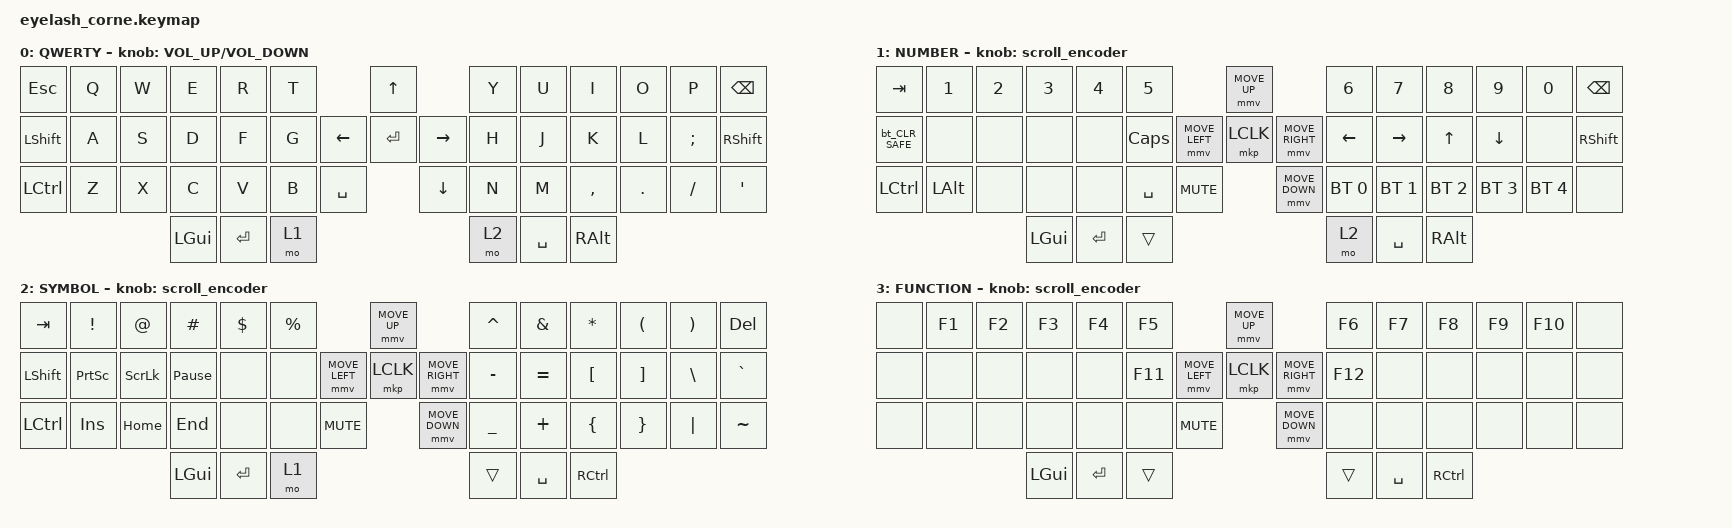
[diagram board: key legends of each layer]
#define ZMK_POINTING_DEFAULT_MOVE_VAL 1200
#define ZMK_POINTING_DEFAULT_SCRL_VAL 25

#include <input/processors.dtsi>
#include <zephyr/dt-bindings/input/input-event-codes.h>
#include <behaviors.dtsi>
#include <dt-bindings/zmk/bt.h>
#include <dt-bindings/zmk/keys.h>
#include <dt-bindings/zmk/outputs.h>
#include <dt-bindings/zmk/pointing.h>
#include <dt-bindings/zmk/rgb.h>

&mmv_input_listener { input-processors = <&zip_xy_scaler 2 1>; };
&msc_input_listener { input-processors = <&zip_scroll_scaler 2 1>; };

&msc {
    acceleration-exponent = <1>;
    time-to-max-speed-ms = <100>;
    delay-ms = <0>;
};

&mmv {
    time-to-max-speed-ms = <500>;
    acceleration-exponent = <1>;
    trigger-period-ms = <16>;
};

/ {
    behaviors {
        td0: td0 {
            compatible = "zmk,behavior-tap-dance";
            display-name = "Shift/Caps Lock Tap Dance";
            #binding-cells = <0>;
            bindings = <&kp LEFT_SHIFT>, <&kp CAPS>;
        };

        // 오른쪽 Shift를 누른 상태에서만 BT_CLR 실행
        bt_CLR_SAFE: bt_CLR_SAFE {
            compatible = "zmk,behavior-mod-morph";
            display-name = "BT_CLR (RShift only)";
            #binding-cells = <0>;
            bindings = <&none>, <&bt BT_CLR>;
            mods = <(MOD_RSFT)>;
        };
    };

    // 넘버(1) + 심볼(2) 동시 누름 -> FUNCTION(3)
    conditional_layers {
        compatible = "zmk,conditional-layers";
        tri_layer {
            if-layers = <1 2>;
            then-layer = <3>;
        };
    };

    scroll_encoder: scroll_encoder {
        compatible = "zmk,behavior-sensor-rotate";
        #sensor-binding-cells = <0>;
        bindings = <&msc SCRL_DOWN>, <&msc SCRL_UP>;
        tap-ms = <100>;
    };

    keymap {
        compatible = "zmk,keymap";

        default_layer {
            display-name = "QWERTY";
            bindings = <
&kp ESC    &kp Q  &kp W  &kp E     &kp R  &kp T                                &kp UP                &kp Y        &kp U  &kp I      &kp O    &kp P     &kp BSPC
&kp LSHFT  &kp A  &kp S  &kp D     &kp F  &kp G                      &kp LEFT  &kp ENTER  &kp RIGHT  &kp H        &kp J  &kp K      &kp L    &kp SEMI  &kp RSHFT
&kp LCTRL  &kp Z  &kp X  &kp C     &kp V  &kp B         &kp SPACE              &kp DOWN              &kp N        &kp M  &kp COMMA  &kp DOT  &kp FSLH  &kp APOS
                         &kp LGUI  &kp ENTER  &mo 1                                              &mo 2        &kp SPACE  &kp RALT
            >;

            sensor-bindings = <&inc_dec_kp C_VOLUME_UP C_VOLUME_DOWN>;
        };

        lower_layer {
            display-name = "NUMBER";
            bindings = <
&kp TAB        &kp N1          &kp N2          &kp N3          &kp N4          &kp N5                                         &mmv MOVE_UP                     &kp N6    &kp N7    &kp N8    &kp N9    &kp N0    &kp BSPC
&bt_CLR_SAFE   &none    &none    &none    &none    &kp CAPS                   &mmv MOVE_LEFT  &mkp LCLK       &mmv MOVE_RIGHT  &kp LEFT  &kp RIGHT  &kp UP    &kp DOWN &none     &kp RSHFT
&kp LCTRL      &kp LALT           &none           &none           &none           &kp SPACE           &kp C_MUTE                     &mmv MOVE_DOWN                   &bt BT_SEL 0     &bt BT_SEL 1     &bt BT_SEL 2     &bt BT_SEL 3     &bt BT_SEL 4     &none
                                               &kp LGUI        &kp ENTER       &trans                                                                          &mo 2     &kp SPACE &kp RALT
            >;

            sensor-bindings = <&scroll_encoder>;
        };

        raise_layer {
            display-name = "SYMBOL";
            bindings = <
&kp TAB    &kp EXCL      &kp AT        &kp HASH      &kp DLLR      &kp PRCNT                                      &mmv MOVE_UP                     &kp CARET  &kp AMPS   &kp ASTRK  &kp LPAR  &kp RPAR  &kp DEL
&kp LSHFT  &kp PSCRN         &kp SLCK         &kp PAUSE_BREAK         &none         &none                          &mmv MOVE_LEFT  &mkp LCLK       &mmv MOVE_RIGHT  &kp MINUS  &kp EQUAL  &kp LBKT   &kp RBKT  &kp BSLH  &kp GRAVE
&kp LCTRL  &kp INS         &kp HOME         &kp END         &none         &none           &kp C_MUTE                         &mmv MOVE_DOWN                   &kp UNDER  &kp PLUS   &kp LBRC   &kp RBRC  &kp PIPE  &kp TILDE
                                       &kp LGUI      &kp ENTER     &mo 1                                                                           &trans     &kp SPACE  &kp RCTRL
            >;

            sensor-bindings = <&scroll_encoder>;
        };

        function_layer {
            display-name = "FUNCTION";
            bindings = <
&none  &kp F1       &kp F2        &kp F3      &kp F4      &kp F5                                   &mmv MOVE_UP                                       &kp F6        &kp F7       &kp F8      &kp F9    &kp F10    &none
&none  &none      &none      &none     &none     &kp F11               &mmv MOVE_LEFT    &mkp LCLK      &mmv MOVE_RIGHT       &kp F12     &none     &none      &none       &none       &none
&none  &none      &none       &none     &none   &none        &kp C_MUTE               &mmv MOVE_DOWN                                      &none      &none    &none     &none      &none      &none
                                   &kp LGUI        &kp ENTER       &trans                                                       &trans     &kp SPACE  &kp RCTRL
            >;

            sensor-bindings = <&scroll_encoder>;
        };
    };
};
